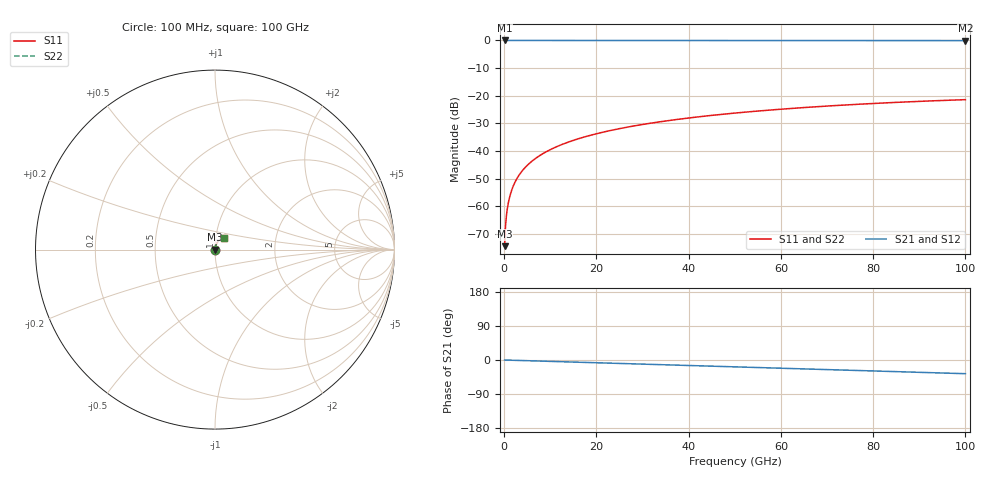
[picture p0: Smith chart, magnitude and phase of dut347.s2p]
! Touchstone file exported from HFSS 2026.1.0
!  File:  C:/ffzhzh/LocalFiles/Ansys_Project_Files/temp_train_TSV_347_1783509943_44152.aedt
!  Generated:  07:26:58 PM Jul  8, 2026
!  Design:  TSV
!  Project:  temp_train_TSV_347_1783509943_44152
! Variables:
!  h_bsmrdl = 2um
!  h_ox = 20um
!  h_rdl = 5um
!  h_sub = 69.35um
!  h_tmrdl = 5um
!  h_tsv = 69.35um
!  h_via = 3um
!  l_bsmrdl = 300um
!  l_sub = 418.58um
!  l_tmrdl = 200um
!  m_sub = 200um
!  pitch = 45.12um
!  r_tsv = 9.29um
!  s_tmrdl = 10um
!  w_bsmrdl = 18um
!  w_sub = 500um
!  w_tmrdl = 12um
!  x_tsv_center1 = 206um
!  x_tsv_center2 = 524um
!  x_tsv_center3 = 736um
!  x_tsv_center4 = 1054um
!  x_tsv_center5 = 1266um
!  x_tsv_center6 = 1584um
# GHz S MA R 50.000000
! Terminal data exported
! Port[1] = TSV1_1_T1
! Port[2] = TSV1_1_T2
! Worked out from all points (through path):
!   1000 points, 100 MHz to 100 GHz, reference 50 ohm
!   highest |S21| = 0.00 dB at 100 MHz (marker M1); lowest = -0.1 dB at 100 GHz (marker M2)
!   group delay of S21, straight-line fit = 1 ps
!   lowest |S11| = -74.5 dB at 100 MHz (marker M3), VSWR 1.00, Z = 50 + j0.014 ohm
!   |S11| at or under -10 dB: start of sweep to end of sweep
!   |S22| runs from -74.5 to -21.4 dB; largest |S21 - S12| = 3.5e-15
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0.1  0.0001893 47.9  0.9999 -0.0  0.9999 -0.0  0.0001893 47.9
! Gamma 0 0 0 0
! Port Impedance 50 0 50 0
0.4  0.0005623 72.0  0.9998 -0.2  0.9998 -0.2  0.0005623 72.0
0.7  0.0009171 75.6  0.9998 -0.3  0.9998 -0.3  0.0009171 75.6
0.8  0.001031 76.3  0.9998 -0.3  0.9998 -0.3  0.001031 76.3
1.1  0.001366 77.9  0.9997 -0.4  0.9997 -0.4  0.001366 77.9
1.4  0.001696 79.0  0.9997 -0.5  0.9997 -0.5  0.001696 79.0
1.9  0.00224 80.0  0.9996 -0.7  0.9996 -0.7  0.00224 80.0
2.4  0.002776 80.7  0.9996 -0.9  0.9996 -0.9  0.002776 80.7
3.1  0.003515 81.2  0.9995 -1.1  0.9995 -1.1  0.003515 81.2
3.9  0.004347 81.6  0.9995 -1.4  0.9995 -1.4  0.004347 81.6
4.9  0.005378 81.9  0.9994 -1.8  0.9994 -1.8  0.005378 81.9
6.1  0.006608 82.1  0.9993 -2.2  0.9993 -2.2  0.006608 82.1
8.9  0.009455 82.0  0.9992 -3.2  0.9992 -3.2  0.009455 82.0
12.4  0.01297 81.3  0.999 -4.5  0.999 -4.5  0.01297 81.3
16.8  0.01734 80.2  0.9987 -6.1  0.9987 -6.1  0.01734 80.2
24.2  0.02458 78.2  0.9984 -8.8  0.9984 -8.8  0.02458 78.1
33.4  0.03338 75.3  0.9979 -12.1  0.9979 -12.1  0.03338 75.3
41.2  0.04061 72.7  0.9974 -14.9  0.9974 -14.9  0.04061 72.7
50.1  0.04857 69.7  0.9969 -18.1  0.9969 -18.1  0.04857 69.7
66.7  0.06241 64.0  0.9958 -24.1  0.9958 -24.1  0.06241 64.0
83.4  0.0747 58.2  0.9947 -30.1  0.9947 -30.1  0.0747 58.1
100  0.08488 52.4  0.9936 -36.1  0.9936 -36.1  0.08488 52.3
